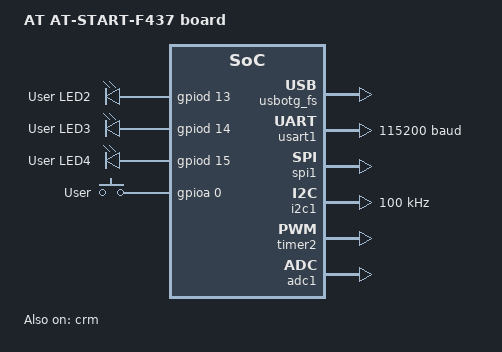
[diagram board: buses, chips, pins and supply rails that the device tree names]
/*
 * Copyright (c) 2025 Maxjta
 *
 * SPDX-License-Identifier: Apache-2.0
 */

/dts-v1/;
#include <at/at32f435_437/at32f437zmt7.dtsi>
#include "at_start_f437-pinctrl.dtsi"
#include <zephyr/dt-bindings/input/input-event-codes.h>

/ {
	model = "AT AT-START-F437 board";
	compatible = "at,at_start_f437";

	chosen {
		zephyr,console = &usart1;
		zephyr,shell-uart = &usart1;
		zephyr,sram = &sram0;
		zephyr,flash = &flash0;
	};

	leds: leds {
		compatible = "gpio-leds";
		red_led: led2 {
			gpios = <&gpiod 13 GPIO_ACTIVE_HIGH>;
			label = "User LED2";
		};
		yellow_led: led3 {
			gpios = <&gpiod 14 GPIO_ACTIVE_HIGH>;
			label = "User LED3";
		};
		green_led: led4 {
			gpios = <&gpiod 15 GPIO_ACTIVE_HIGH>;
			label = "User LED4";
		};
	};

	gpio_keys {
		compatible = "gpio-keys";
		user_button: button {
			label = "User";
			gpios = <&gpioa 0 GPIO_ACTIVE_HIGH>;
			zephyr,code = <INPUT_KEY_0>;
		};
	};

	aliases {
		led0 = &red_led;
		led1 = &yellow_led;
		led2 = &green_led;
		sw0 = &user_button;
	};
};

&gpioa {
    status = "okay";
};

&gpiob {
    status = "okay";
};

&gpioc {
    status = "okay";
};

&gpiod {
    status = "okay";
};

&gpioe {
    status = "okay";
};

&gpiof {
    status = "okay";
};

&clk_hick {
	status = "okay";
};

&clk_hext {
	clock-frequency = <8000000>;
	status = "okay";
};

&pll {
	div-ms = <1>;
	mul-ns = <144>;
	div-fp = <2>;
	div-fu = <11>;
	clocks = <&clk_hext>;
	status = "okay";
};

&sysclk {
	clock-frequency = <DT_FREQ_M(288)>;
	status = "okay";
};

&crm {
	clocks = <&pll>;
	ahb-prescaler = <1>;
	clock-frequency = <288000000>;
	apb1-prescaler = <2>;
	apb2-prescaler = <2>;
	status = "okay";
};

zephyr_udc0: &usbotg_fs {
	pinctrl-0 = <&otgfs_default>;
	pinctrl-names = "default";
	status = "okay";
};

&usart1 {
	pinctrl-0 = <&usart1_default>;
	pinctrl-names = "default";
	current-speed = <115200>;
	status = "okay";
};

&spi1 {
	status = "okay";
	pinctrl-0 = <&spi1_default>;
	pinctrl-names = "default";
	cs-gpios = <&gpioa 4 GPIO_ACTIVE_LOW>;
	dmas = <&dma1 1 10 1 0>, <&dma1 2 11 2 0>;
	dma-names = "rx", "tx";
};

&i2c1 {
    status = "okay";
	clock-frequency = <I2C_BITRATE_STANDARD>;
	pinctrl-0 = <&i2c1_default>;
	pinctrl-names = "default";
};

&timer2 {
    status = "okay";
	at,prescaler = <9999>;
	
	pwm1: pwm {
		status = "okay";
		pinctrl-0 = <&pwm1_default>;
		pinctrl-names = "default";
	};
};

&dma1 {
    status = "okay";
};


&adc1 {
	pinctrl-0 = <&adc1_default>;
	pinctrl-names = "default";
	at,adc-clock-source = "SYNC";
	at,adc-prescaler = <15>;
	status = "okay";
	dmas = <&dma1 3 5 (AT32_DMA_PERIPH_TO_MEMORY|AT32_DMA_NO_PERIPH_ADDR_INC| 
	                  AT32_DMA_MEMORY_ADDR_INC|AT32_DMA_PERIPH_WIDTH_16BIT|
					  AT32_DMA_MEMORY_WIDTH_16BIT|AT32_DMA_PRIORITY_HIGH) 0>;
	dma-names = "rx";
};

&flash0 {
	partitions {
		compatible = "fixed-partitions";
		#address-cells = <1>;
		#size-cells = <1>;

		/* 64KB for bootloader */
		boot_partition: partition@0 {
			label = "mcuboot";
			reg = <0x00000000 DT_SIZE_K(64)>;
			read-only;
		};

		/* storage: 64KB for settings */
		storage_partition: partition@10000 {
			label = "storage";
			reg = <0x00010000 DT_SIZE_K(64)>;
		};

		/* application image slot: 1920KB */
		slot0_partition: partition@20000 {
			label = "image-0";
			reg = <0x00020000 DT_SIZE_K(1920)>;
		};

		/* backup slot: 1984KB */
		slot1_partition: partition@200000 {
			label = "image-1";
			reg = <0x00030000 DT_SIZE_K(1984)>;
		};
	};
};
